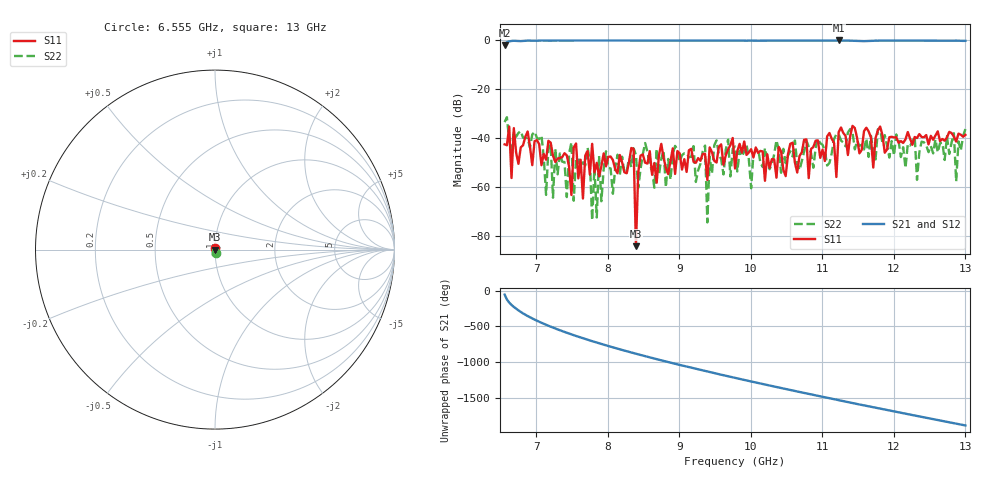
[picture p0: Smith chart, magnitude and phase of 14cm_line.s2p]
!Keysight Technologies,N5241B,MY57181531,A.15.65.19
!Date: Tuesday, December 03, 2024 16:21:49
!Correction: S11(C  2-Port  )
!S21(C  2-Port  )
!S12(C  2-Port  )
!S22(C  2-Port  )
!S2P File: Measurements: S11, S21, S12, S22:
# Hz S  dB  R 50
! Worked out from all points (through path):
!   201 points, 6.555 GHz to 13 GHz, reference 50 ohm
!   highest |S21| = -0.13 dB at 11.23 GHz (marker M1); lowest = -2.0 dB at 6.555 GHz (marker M2)
!   lowest |S11| = -84.2 dB at 8.392 GHz (marker M3), VSWR 1.00, Z = 50 + j0.00269 ohm
!   |S11| at or under -10 dB: start of sweep to end of sweep
!   |S22| runs from -74.5 to -31.5 dB; largest |S21 - S12| = 0.0088
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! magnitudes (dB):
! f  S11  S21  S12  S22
! 6.555 GHz  -42.6  -2.0  -2.0  -33.5
! 7.071 GHz  -51.1  -0.2  -0.2  -38.9
! 7.135 GHz  -48.9  -0.2  -0.2  -63.2
! 7.49 GHz  -63.3  -0.2  -0.1  -41.8
! 7.522 GHz  -43.8  -0.2  -0.2  -65.6
! 7.554 GHz  -42.2  -0.2  -0.2  -48.5
! 7.651 GHz  -64.7  -0.2  -0.2  -49.9
! 7.78 GHz  -42.3  -0.2  -0.2  -73.6
! 7.876 GHz  -55.6  -0.2  -0.2  -47.3
! 8.36 GHz  -44.4  -0.2  -0.2  -44.2
! 8.392 GHz  -84.2  -0.2  -0.2  -46.9
! 8.456 GHz  -47.2  -0.2  -0.2  -52.8
! 8.714 GHz  -47.0  -0.2  -0.2  -55.0
! 9.359 GHz  -46.5  -0.2  -0.2  -43.1
! 9.391 GHz  -57.1  -0.2  -0.2  -74.5
! 9.423 GHz  -43.8  -0.2  -0.2  -47.6
! 9.777 GHz  -52.4  -0.2  -0.2  -43.4
! 10.87 GHz  -43.6  -0.2  -0.2  -52.1
! 11.23 GHz  -37.5  -0.1  -0.1  -38.4
! 11.94 GHz  -39.7  -0.2  -0.2  -48.0
! 12.87 GHz  -41.4  -0.2  -0.2  -57.7
! 13 GHz  -38.7  -0.3  -0.3  -36.3
